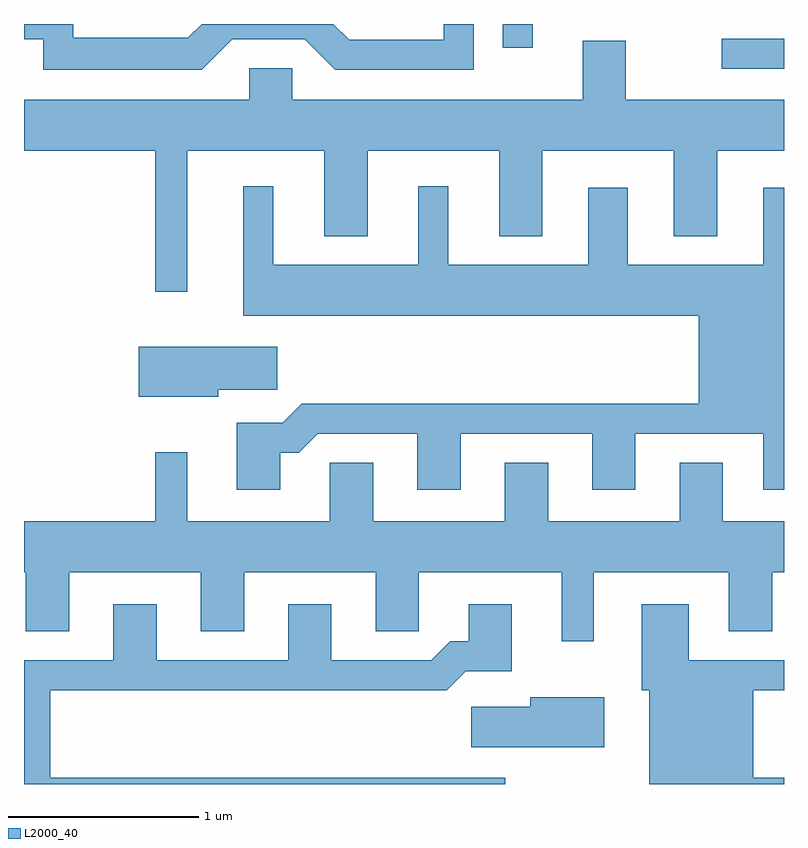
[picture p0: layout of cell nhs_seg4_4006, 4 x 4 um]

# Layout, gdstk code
import gdstk
lib = gdstk.Library(unit=1e-6, precision=1e-09)
def R(c, l, rs):  # rectangles x0, y0, x1, y1
    for r in rs: c.add(gdstk.rectangle(r[:2], r[2:], *l))
def P(c, l, *ps):  # polygons
    for p in ps: c.add(gdstk.Polygon(p, *l))
L2000_40 = (2000, 40)

nhs_seg4_4006 = lib.new_cell('nhs_seg4_4006')
R(nhs_seg4_4006, L2000_40, [(305.283,1381.746,305.611,1381.904), (304.131,1381.858,304.289,1381.982)])
P(nhs_seg4_4006, L2000_40, [(302.707,1381.901),(303.089,1381.901),(303.249,1381.741),(303.979,1381.741),(303.979,1381.982),(303.821,1381.982),(303.821,1381.899),(303.322,1381.899),(303.239,1381.982),(302.547,1381.982),(302.474,1381.909),(301.869,1381.909),(301.869,1381.982),(301.611,1381.982),(301.611,1381.901),(301.711,1381.901),(301.711,1381.741),(302.547,1381.741)],
  [(303.024,1381.749),(302.796,1381.749),(302.796,1381.584),(301.611,1381.584),(301.611,1381.316),(302.301,1381.316),(302.301,1380.573),(302.469,1380.573),(302.469,1381.316),(303.191,1381.316),(303.191,1380.866),(303.419,1380.866),(303.419,1381.316),(304.111,1381.316),(304.111,1380.866),(304.339,1380.866),(304.339,1381.316),(305.031,1381.316),(305.031,1380.866),(305.259,1380.866),(305.259,1381.316),(305.611,1381.316),(305.611,1381.584),(304.779,1381.584),(304.779,1381.894),(304.551,1381.894),(304.551,1381.584),(303.024,1381.584)],
  [(302.959,1379.726),(303.057,1379.726),(303.157,1379.826),(303.681,1379.826),(303.681,1379.531),(303.909,1379.531),(303.909,1379.826),(304.601,1379.826),(304.601,1379.531),(304.829,1379.531),(304.829,1379.826),(305.501,1379.826),(305.501,1379.531),(305.611,1379.531),(305.611,1381.119),(305.501,1381.119),(305.501,1380.714),(304.789,1380.714),(304.789,1381.119),(304.581,1381.119),(304.581,1380.714),(303.844,1380.714),(303.844,1381.128),(303.686,1381.128),(303.686,1380.714),(302.924,1380.714),(302.924,1381.128),(302.766,1381.128),(302.766,1380.446),(305.161,1380.446),(305.161,1379.984),(303.074,1379.984),(302.974,1379.884),(302.731,1379.884),(302.731,1379.531),(302.959,1379.531)],
  [(302.634,1380.056),(302.944,1380.056),(302.944,1380.284),(302.216,1380.284),(302.216,1380.021),(302.634,1380.021)],
  [(304.609,1379.096),(305.321,1379.096),(305.321,1378.786),(305.549,1378.786),(305.549,1379.096),(305.611,1379.096),(305.611,1379.364),(305.289,1379.364),(305.289,1379.674),(305.061,1379.674),(305.061,1379.364),(304.369,1379.364),(304.369,1379.674),(304.141,1379.674),(304.141,1379.364),(303.449,1379.364),(303.449,1379.674),(303.221,1379.674),(303.221,1379.364),(302.469,1379.364),(302.469,1379.728),(302.301,1379.728),(302.301,1379.364),(301.611,1379.364),(301.611,1379.096),(301.621,1379.096),(301.621,1378.786),(301.849,1378.786),(301.849,1379.096),(302.541,1379.096),(302.541,1378.786),(302.769,1378.786),(302.769,1379.096),(303.461,1379.096),(303.461,1378.786),(303.689,1378.786),(303.689,1379.096),(304.441,1379.096),(304.441,1378.733),(304.609,1378.733)],
  [(305.611,1378.014),(305.449,1378.014),(305.449,1378.476),(305.611,1378.476),(305.611,1378.634),(305.109,1378.634),(305.109,1378.929),(304.861,1378.929),(304.861,1378.476),(304.901,1378.476),(304.901,1377.982),(305.611,1377.982)],
  [(304.144,1378.014),(301.749,1378.014),(301.749,1378.476),(303.837,1378.476),(303.937,1378.576),(304.179,1378.576),(304.179,1378.929),(303.951,1378.929),(303.951,1378.734),(303.854,1378.734),(303.754,1378.634),(303.229,1378.634),(303.229,1378.929),(303.001,1378.929),(303.001,1378.634),(302.309,1378.634),(302.309,1378.929),(302.081,1378.929),(302.081,1378.634),(301.611,1378.634),(301.611,1377.982),(304.144,1377.982)],
  [(304.664,1378.439),(304.276,1378.439),(304.276,1378.389),(303.966,1378.389),(303.966,1378.176),(304.664,1378.176)])

lib.write_gds('nhs_seg4_4006.gds')
